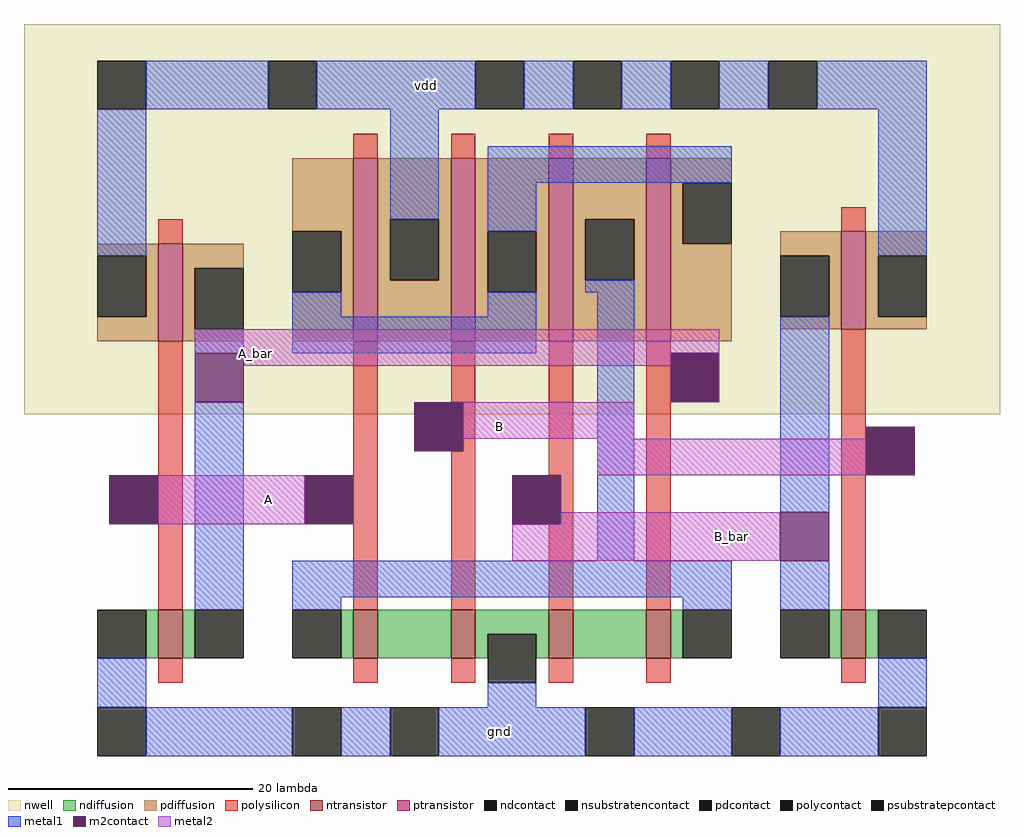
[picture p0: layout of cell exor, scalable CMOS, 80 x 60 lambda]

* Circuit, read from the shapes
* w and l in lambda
.subckt exor A A_bar B B_bar gnd vdd
M1 A_bar A gnd gnd nfet w=4 l=2
M2 n1 A n2 gnd nfet w=4 l=2
M3 gnd B n1 gnd nfet w=4 l=2
M4 n3 B_bar gnd gnd nfet w=4 l=2
M5 n2 A_bar n3 gnd nfet w=4 l=2
M6 gnd B B_bar gnd nfet w=4 l=2
M7 A_bar A vdd vdd pfet w=8 l=2
M8 vdd A n4 vdd pfet w=15 l=2
M9 n4 B vdd vdd pfet w=15 l=2
M10 n2 B_bar n4 vdd pfet w=15 l=2
M11 n4 A_bar n2 vdd pfet w=15 l=2
M12 vdd B B_bar vdd pfet w=8 l=2
.ends

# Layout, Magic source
magic
tech scmos
<< nwell >>
rect -31 0 49 32
<< ntransistor >>
rect -20 -20 -18 -16
rect -4 -20 -2 -16
rect 4 -20 6 -16
rect 12 -20 14 -16
rect 20 -20 22 -16
rect 36 -20 38 -16
<< ptransistor >>
rect -20 6 -18 14
rect -4 6 -2 21
rect 4 6 6 21
rect 12 6 14 21
rect 20 6 22 21
rect 36 7 38 15
<< ndiffusion >>
rect -21 -20 -20 -16
rect -18 -20 -17 -16
rect -5 -20 -4 -16
rect -2 -20 4 -16
rect 6 -18 12 -16
rect 6 -20 7 -18
rect 11 -20 12 -18
rect 14 -20 20 -16
rect 22 -20 23 -16
rect 35 -20 36 -16
rect 38 -20 39 -16
<< pdiffusion >>
rect -9 15 -4 21
rect -25 13 -20 14
rect -21 8 -20 13
rect -25 6 -20 8
rect -18 12 -13 14
rect -18 7 -17 12
rect -18 6 -13 7
rect -5 10 -4 15
rect -9 6 -4 10
rect -2 16 4 21
rect -2 11 -1 16
rect 3 11 4 16
rect -2 6 4 11
rect 6 15 12 21
rect 6 10 7 15
rect 11 10 12 15
rect 6 6 12 10
rect 14 16 20 21
rect 14 11 15 16
rect 19 11 20 16
rect 14 6 20 11
rect 22 19 27 21
rect 22 14 23 19
rect 22 6 27 14
rect 31 13 36 15
rect 35 8 36 13
rect 31 7 36 8
rect 38 13 43 15
rect 38 8 39 13
rect 38 7 43 8
<< ndcontact >>
rect -25 -20 -21 -16
rect -17 -20 -13 -16
rect -9 -20 -5 -16
rect 7 -22 11 -18
rect 23 -20 27 -16
rect 31 -20 35 -16
rect 39 -20 43 -16
<< pdcontact >>
rect -25 8 -21 13
rect -17 7 -13 12
rect -9 10 -5 15
rect -1 11 3 16
rect 7 10 11 15
rect 15 11 19 16
rect 23 14 27 19
rect 31 8 35 13
rect 39 8 43 13
<< psubstratepcontact >>
rect -25 -28 -21 -24
rect -9 -28 -5 -24
rect -1 -28 3 -24
rect 15 -28 19 -24
rect 27 -28 31 -24
rect 39 -28 43 -24
<< nsubstratencontact >>
rect -25 25 -21 29
rect -11 25 -7 29
rect 6 25 10 29
rect 14 25 18 29
rect 22 25 26 29
rect 30 25 34 29
<< polysilicon >>
rect -4 21 -2 23
rect 4 21 6 23
rect 12 21 14 23
rect 20 21 22 23
rect -20 14 -18 16
rect 36 15 38 17
rect -20 -16 -18 6
rect -4 -16 -2 6
rect 4 1 6 6
rect 5 -3 6 1
rect 4 -16 6 -3
rect 12 -5 14 6
rect 13 -9 14 -5
rect 12 -16 14 -9
rect 20 -16 22 6
rect 36 -16 38 7
rect -20 -22 -18 -20
rect -4 -22 -2 -20
rect 4 -22 6 -20
rect 12 -22 14 -20
rect 20 -22 22 -20
rect 36 -22 38 -20
<< polycontact >>
rect -24 -9 -20 -5
rect -8 -9 -4 -5
rect 1 -3 5 1
rect 9 -9 13 -5
rect 22 1 26 5
rect 38 -5 42 -1
<< metal1 >>
rect -21 25 -11 29
rect -7 25 6 29
rect 10 25 14 29
rect 18 25 22 29
rect 26 25 30 29
rect 34 25 43 29
rect -25 13 -21 25
rect -1 16 3 25
rect -17 5 -13 7
rect 7 19 27 22
rect 7 15 11 19
rect -9 8 -5 10
rect 39 13 43 25
rect 15 10 19 11
rect 7 8 11 10
rect -9 5 11 8
rect -17 -16 -13 1
rect 16 -12 19 10
rect 31 -8 35 8
rect -9 -15 27 -12
rect -9 -16 -5 -15
rect 23 -16 27 -15
rect -25 -24 -21 -20
rect 31 -16 35 -12
rect 7 -24 11 -22
rect 39 -24 43 -20
rect -21 -28 -9 -24
rect -5 -28 -1 -24
rect 3 -28 15 -24
rect 19 -28 27 -24
rect 31 -28 39 -24
<< m2contact >>
rect -17 1 -13 5
rect -24 -9 -20 -5
rect 1 -3 5 1
rect -8 -9 -4 -5
rect 9 -9 13 -5
rect 22 1 26 5
rect 38 -5 42 -1
rect 31 -12 35 -8
<< metal2 >>
rect -17 5 26 7
rect -13 4 22 5
rect 5 -2 19 1
rect 16 -5 38 -2
rect -20 -9 -8 -5
rect 13 -9 31 -8
rect 9 -12 31 -9
<< labels >>
rlabel metal1 2 27 2 27 5 vdd
rlabel metal1 8 -26 8 -26 1 gnd
rlabel metal2 -11 -7 -11 -7 1 A
rlabel metal2 8 -1 8 -1 1 B
rlabel metal2 -12 5 -12 5 1 A_bar
rlabel metal2 27 -10 27 -10 1 B_bar
<< end >>
